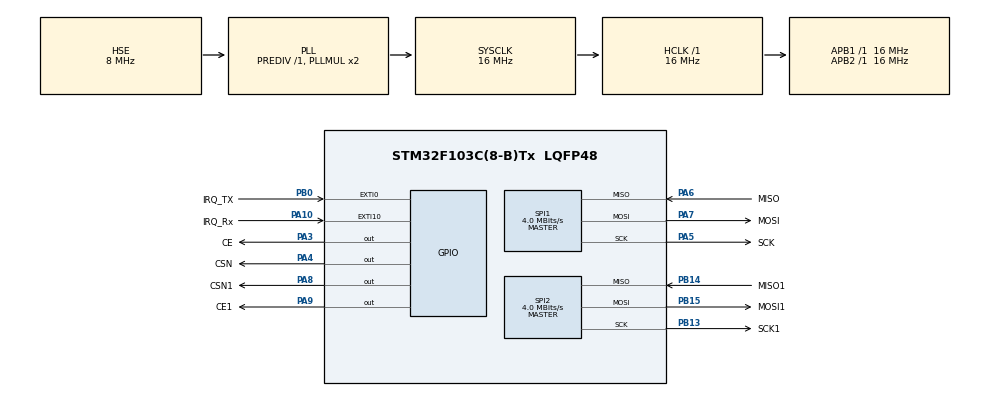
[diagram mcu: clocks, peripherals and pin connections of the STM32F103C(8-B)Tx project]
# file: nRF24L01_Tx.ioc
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Mcu.Family=STM32F1
Mcu.Name=STM32F103C(8-B)Tx
Mcu.Package=LQFP48
NVIC.EXTI0_IRQn=true\:1\:0\:true\:false\:true\:true\:true\:true
NVIC.EXTI15_10_IRQn=true\:1\:0\:true\:false\:true\:true\:true\:true
NVIC.PriorityGroup=NVIC_PRIORITYGROUP_4
PA10.GPIO_Label=IRQ_Rx
PA10.GPIO_ModeDefaultEXTI=GPIO_MODE_IT_FALLING
PA10.Signal=GPXTI10
PA13.Mode=Serial_Wire
PA13.Signal=SYS_JTMS-SWDIO
PA14.Mode=Serial_Wire
PA14.Signal=SYS_JTCK-SWCLK
PA3.GPIO_Label=CE
PA3.Signal=GPIO_Output
PA4.GPIO_Label=CSN
PA4.PinState=GPIO_PIN_SET
PA4.Signal=GPIO_Output
PA5.GPIO_Label=SCK
PA5.Mode=Full_Duplex_Master
PA5.Signal=SPI1_SCK
PA6.GPIO_Label=MISO
PA6.Mode=Full_Duplex_Master
PA6.Signal=SPI1_MISO
PA7.GPIO_Label=MOSI
PA7.Mode=Full_Duplex_Master
PA7.Signal=SPI1_MOSI
PA8.GPIO_Label=CSN1
PA8.PinState=GPIO_PIN_SET
PA8.Signal=GPIO_Output
PA9.GPIO_Label=CE1
PA9.Signal=GPIO_Output
PB0.GPIO_Label=IRQ_TX
PB0.GPIO_ModeDefaultEXTI=GPIO_MODE_IT_FALLING
PB0.Signal=GPXTI0
PB13.GPIO_Label=SCK1
PB13.Mode=Full_Duplex_Master
PB13.Signal=SPI2_SCK
PB14.GPIO_Label=MISO1
PB14.Mode=Full_Duplex_Master
PB14.Signal=SPI2_MISO
PB15.GPIO_Label=MOSI1
PB15.Mode=Full_Duplex_Master
PB15.Signal=SPI2_MOSI
PD0-OSC_IN.Mode=HSE-External-Oscillator
PD0-OSC_IN.Signal=RCC_OSC_IN
PD1-OSC_OUT.Mode=HSE-External-Oscillator
PD1-OSC_OUT.Signal=RCC_OSC_OUT
ProjectManager.HeapSize=0x200
ProjectManager.StackSize=0x400
ProjectManager.TargetToolchain=MDK-ARM V5.32
RCC.AHBFreq_Value=16000000
RCC.APB1Freq_Value=16000000
RCC.APB1TimFreq_Value=16000000
RCC.APB2Freq_Value=16000000
RCC.APB2TimFreq_Value=16000000
RCC.HCLKFreq_Value=16000000
RCC.PLLSourceVirtual=RCC_PLLSOURCE_HSE
RCC.SYSCLKFreq_VALUE=16000000
RCC.SYSCLKSource=RCC_SYSCLKSOURCE_PLLCLK
RCC.USBFreq_Value=16000000
SPI1.BaudRatePrescaler=SPI_BAUDRATEPRESCALER_4
SPI1.CalculateBaudRate=4.0 MBits/s
SPI1.Direction=SPI_DIRECTION_2LINES
SPI1.Mode=SPI_MODE_MASTER
SPI1.VirtualType=VM_MASTER
SPI2.BaudRatePrescaler=SPI_BAUDRATEPRESCALER_4
SPI2.CalculateBaudRate=4.0 MBits/s
SPI2.Direction=SPI_DIRECTION_2LINES
SPI2.Mode=SPI_MODE_MASTER
SPI2.VirtualType=VM_MASTER
TIM1.Prescaler=16-1
VP_TIM1_VS_ClockSourceINT.Mode=Internal
board=custom

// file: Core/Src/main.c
/* USER CODE BEGIN Header */
/**
  ******************************************************************************
  * @file           : main.c
  * @brief          : Main program body
  ******************************************************************************
  * @attention
  *
  * Copyright (c) 2024 STMicroelectronics.
  * All rights reserved.
  *
  * This software is licensed under terms that can be found in the LICENSE file
  * in the root directory of this software component.
  * If no LICENSE file comes with this software, it is provided AS-IS.
  *
  ******************************************************************************
  */
/* USER CODE END Header */
#include "main.h"

/* USER CODE BEGIN PD */
/* Instruction Mnemonics */
#define R_REGISTER    0x00
#define W_REGISTER    0x20
#define REGISTER_MASK 0x1F
#define ACTIVATE      0x50
#define R_RX_PL_WID   0x60
#define R_RX_PAYLOAD  0x61
#define W_TX_PAYLOAD  0xA0
#define W_ACK_PAYLOAD 0xA8
#define FLUSH_TX      0xE1
#define FLUSH_RX      0xE2
#define REUSE_TX_PL   0xE3
#define NOP           0xFF

/* Memory Map */
#define CONFIG      0x00
#define EN_AA       0x01
#define EN_RXADDR   0x02
#define SETUP_AW    0x03
#define SETUP_RETR  0x04
#define RF_CH       0x05
#define RF_SETUP    0x06
#define STATUS      0x07
#define OBSERVE_TX  0x08
#define CD          0x09
#define RX_ADDR_P0  0x0A
#define RX_ADDR_P1  0x0B
#define RX_ADDR_P2  0x0C
#define RX_ADDR_P3  0x0D
#define RX_ADDR_P4  0x0E
#define RX_ADDR_P5  0x0F
#define TX_ADDR     0x10
#define RX_PW_P0    0x11
#define RX_PW_P1    0x12
#define RX_PW_P2    0x13
#define RX_PW_P3    0x14
#define RX_PW_P4    0x15
#define RX_PW_P5    0x16
#define FIFO_STATUS 0x17
#define DYNPD	    0x1C
#define FEATURE	    0x1D

/* USER CODE END PD */

SPI_HandleTypeDef hspi1;
SPI_HandleTypeDef hspi2;

TIM_HandleTypeDef htim1;

void SystemClock_Config(void);
static void MX_GPIO_Init(void);
static void MX_SPI1_Init(void);
static void MX_TIM1_Init(void);
static void MX_SPI2_Init(void);
/* USER CODE BEGIN PFP */
	void TransmitSetup(uint8_t DataT[]);
	void ReceiveSetup();
	void uSDelay(uint16_t delay);
	void Transmit(uint8_t data[]);
	void Receive();
  uint8_t data[2]={1,2};
	HAL_StatusTypeDef status1=!(HAL_OK);
	uint8_t StatusCheckx[2];
	uint8_t RxData2[3];
  uint8_t RxData22;
/* USER CODE END PFP */

int main(void){

  /* MCU Configuration--------------------------------------------------------*/

  /* Reset of all peripherals, Initializes the Flash interface and the Systick. */
  HAL_Init();

  /* Configure the system clock */
  SystemClock_Config();

  /* Initialize all configured peripherals */
  MX_GPIO_Init();
  MX_SPI1_Init();
  MX_TIM1_Init();
  MX_SPI2_Init();
  /* USER CODE BEGIN 2 */
	HAL_TIM_Base_Start(&htim1);
	HAL_Delay(100);
	Receive();//Activate the receiver

  /* USER CODE END 2 */

  /* Infinite loop */
  /* USER CODE BEGIN WHILE */
  while (1)
  {
	data[0]=1;data[1]=4;

	Transmit(data);//Transmit an array of data(2 bytes)
	HAL_Delay(10);
	data[0]=9;data[1]=16;

	Transmit(data);//Retransmit an array of data(2 bytes)
	HAL_Delay(10);

    /* USER CODE END WHILE */

  }
}

void SystemClock_Config(void)
{
  RCC_OscInitTypeDef RCC_OscInitStruct = {0};
  RCC_ClkInitTypeDef RCC_ClkInitStruct = {0};

  /** Initializes the RCC Oscillators according to the specified parameters
  * in the RCC_OscInitTypeDef structure.
  */
  RCC_OscInitStruct.OscillatorType = RCC_OSCILLATORTYPE_HSE;
  RCC_OscInitStruct.HSEState = RCC_HSE_ON;
  RCC_OscInitStruct.HSEPredivValue = RCC_HSE_PREDIV_DIV1;
  RCC_OscInitStruct.HSIState = RCC_HSI_ON;
  RCC_OscInitStruct.PLL.PLLState = RCC_PLL_ON;
  RCC_OscInitStruct.PLL.PLLSource = RCC_PLLSOURCE_HSE;
  RCC_OscInitStruct.PLL.PLLMUL = RCC_PLL_MUL2;
  if (HAL_RCC_OscConfig(&RCC_OscInitStruct) != HAL_OK)
  {
    Error_Handler();
  }

  /** Initializes the CPU, AHB and APB buses clocks
  */
  RCC_ClkInitStruct.ClockType = RCC_CLOCKTYPE_HCLK|RCC_CLOCKTYPE_SYSCLK
                              |RCC_CLOCKTYPE_PCLK1|RCC_CLOCKTYPE_PCLK2;
  RCC_ClkInitStruct.SYSCLKSource = RCC_SYSCLKSOURCE_PLLCLK;
  RCC_ClkInitStruct.AHBCLKDivider = RCC_SYSCLK_DIV1;
  RCC_ClkInitStruct.APB1CLKDivider = RCC_HCLK_DIV1;
  RCC_ClkInitStruct.APB2CLKDivider = RCC_HCLK_DIV1;

  if (HAL_RCC_ClockConfig(&RCC_ClkInitStruct, FLASH_LATENCY_0) != HAL_OK)
  {
    Error_Handler();
  }
}

static void MX_SPI1_Init(void)
{

  /* SPI1 parameter configuration*/
  hspi1.Instance = SPI1;
  hspi1.Init.Mode = SPI_MODE_MASTER;
  hspi1.Init.Direction = SPI_DIRECTION_2LINES;
  hspi1.Init.DataSize = SPI_DATASIZE_8BIT;
  hspi1.Init.CLKPolarity = SPI_POLARITY_LOW;
  hspi1.Init.CLKPhase = SPI_PHASE_1EDGE;
  hspi1.Init.NSS = SPI_NSS_SOFT;
  hspi1.Init.BaudRatePrescaler = SPI_BAUDRATEPRESCALER_4;
  hspi1.Init.FirstBit = SPI_FIRSTBIT_MSB;
  hspi1.Init.TIMode = SPI_TIMODE_DISABLE;
  hspi1.Init.CRCCalculation = SPI_CRCCALCULATION_DISABLE;
  hspi1.Init.CRCPolynomial = 10;
  if (HAL_SPI_Init(&hspi1) != HAL_OK)
  {
    Error_Handler();
  }

}

static void MX_SPI2_Init(void)
{

  /* SPI2 parameter configuration*/
  hspi2.Instance = SPI2;
  hspi2.Init.Mode = SPI_MODE_MASTER;
  hspi2.Init.Direction = SPI_DIRECTION_2LINES;
  hspi2.Init.DataSize = SPI_DATASIZE_8BIT;
  hspi2.Init.CLKPolarity = SPI_POLARITY_LOW;
  hspi2.Init.CLKPhase = SPI_PHASE_1EDGE;
  hspi2.Init.NSS = SPI_NSS_SOFT;
  hspi2.Init.BaudRatePrescaler = SPI_BAUDRATEPRESCALER_4;
  hspi2.Init.FirstBit = SPI_FIRSTBIT_MSB;
  hspi2.Init.TIMode = SPI_TIMODE_DISABLE;
  hspi2.Init.CRCCalculation = SPI_CRCCALCULATION_DISABLE;
  hspi2.Init.CRCPolynomial = 10;
  if (HAL_SPI_Init(&hspi2) != HAL_OK)
  {
    Error_Handler();
  }

}

static void MX_TIM1_Init(void)
{

  TIM_ClockConfigTypeDef sClockSourceConfig = {0};
  TIM_MasterConfigTypeDef sMasterConfig = {0};

  htim1.Instance = TIM1;
  htim1.Init.Prescaler = 16-1;
  htim1.Init.CounterMode = TIM_COUNTERMODE_UP;
  htim1.Init.Period = 65535;
  htim1.Init.ClockDivision = TIM_CLOCKDIVISION_DIV1;
  htim1.Init.RepetitionCounter = 0;
  htim1.Init.AutoReloadPreload = TIM_AUTORELOAD_PRELOAD_DISABLE;
  if (HAL_TIM_Base_Init(&htim1) != HAL_OK)
  {
    Error_Handler();
  }
  sClockSourceConfig.ClockSource = TIM_CLOCKSOURCE_INTERNAL;
  if (HAL_TIM_ConfigClockSource(&htim1, &sClockSourceConfig) != HAL_OK)
  {
    Error_Handler();
  }
  sMasterConfig.MasterOutputTrigger = TIM_TRGO_RESET;
  sMasterConfig.MasterSlaveMode = TIM_MASTERSLAVEMODE_DISABLE;
  if (HAL_TIMEx_MasterConfigSynchronization(&htim1, &sMasterConfig) != HAL_OK)
  {
    Error_Handler();
  }

}

static void MX_GPIO_Init(void)
{
  GPIO_InitTypeDef GPIO_InitStruct = {0};

  /* GPIO Ports Clock Enable */
  __HAL_RCC_GPIOD_CLK_ENABLE();
  __HAL_RCC_GPIOA_CLK_ENABLE();
  __HAL_RCC_GPIOB_CLK_ENABLE();

  /*Configure GPIO pin Output Level */
  HAL_GPIO_WritePin(GPIOA, CE_Pin|CE1_Pin, GPIO_PIN_RESET);

  /*Configure GPIO pin Output Level */
  HAL_GPIO_WritePin(GPIOA, CSN_Pin|CSN1_Pin, GPIO_PIN_SET);

  /*Configure GPIO pins : CE_Pin CSN_Pin CSN1_Pin CE1_Pin */
  GPIO_InitStruct.Pin = CE_Pin|CSN_Pin|CSN1_Pin|CE1_Pin;
  GPIO_InitStruct.Mode = GPIO_MODE_OUTPUT_PP;
  GPIO_InitStruct.Pull = GPIO_NOPULL;
  GPIO_InitStruct.Speed = GPIO_SPEED_FREQ_LOW;
  HAL_GPIO_Init(GPIOA, &GPIO_InitStruct);

  /*Configure GPIO pin : IRQ_TX_Pin */
  GPIO_InitStruct.Pin = IRQ_TX_Pin;
  GPIO_InitStruct.Mode = GPIO_MODE_IT_FALLING;
  GPIO_InitStruct.Pull = GPIO_NOPULL;
  HAL_GPIO_Init(IRQ_TX_GPIO_Port, &GPIO_InitStruct);

  /*Configure GPIO pin : IRQ_Rx_Pin */
  GPIO_InitStruct.Pin = IRQ_Rx_Pin;
  GPIO_InitStruct.Mode = GPIO_MODE_IT_FALLING;
  GPIO_InitStruct.Pull = GPIO_NOPULL;
  HAL_GPIO_Init(IRQ_Rx_GPIO_Port, &GPIO_InitStruct);

  /* EXTI interrupt init*/
  HAL_NVIC_SetPriority(EXTI0_IRQn, 1, 0);
  HAL_NVIC_EnableIRQ(EXTI0_IRQn);

  HAL_NVIC_SetPriority(EXTI15_10_IRQn, 1, 0);
  HAL_NVIC_EnableIRQ(EXTI15_10_IRQn);

}

/* USER CODE BEGIN 4 */
void uSDelay(uint16_t Delay)
{
	__HAL_TIM_SET_COUNTER(&htim1,0);
	while(__HAL_TIM_GET_COUNTER(&htim1)<Delay);
}

void HAL_GPIO_EXTI_Callback(uint16_t GPIO_Pin)
	{
		if(GPIO_Pin==GPIO_PIN_0)
		{
			//Go to Standby-I Mode
		HAL_GPIO_WritePin(CE_GPIO_Port,CE_Pin,GPIO_PIN_RESET);

		//Check IRQ PIN TX
		//Flush TX
	  uint8_t FlushTx=FLUSH_TX;
		uint8_t RxData;
	  HAL_GPIO_WritePin(CSN_GPIO_Port, CSN_Pin, GPIO_PIN_RESET);
	  HAL_SPI_TransmitReceive(&hspi1,&FlushTx,&RxData22,1,1);
	  HAL_GPIO_WritePin(CSN_GPIO_Port, CSN_Pin, GPIO_PIN_SET);

	  //Flush RX
	  uint8_t FlushRx=FLUSH_RX;
	  HAL_GPIO_WritePin(CSN_GPIO_Port, CSN_Pin, GPIO_PIN_RESET);
	  HAL_SPI_TransmitReceive(&hspi1,&FlushRx,&RxData,1,1);
	  HAL_GPIO_WritePin(CSN_GPIO_Port, CSN_Pin, GPIO_PIN_SET);
		}

		else
		{
			uint8_t TxData[2];
			uint8_t RxDatax[2];
			//Go to Standby-I Mode
		HAL_GPIO_WritePin(CE1_GPIO_Port,CE1_Pin,GPIO_PIN_RESET);

		//Check IRQ PIN RX
		//Read Payload Data
		uint8_t R_Rx_Payload[3]={(R_REGISTER|R_RX_PAYLOAD),0,0};
		uint8_t RxData;
	  HAL_GPIO_WritePin(CSN1_GPIO_Port, CSN1_Pin, GPIO_PIN_RESET);
	  status1=HAL_SPI_TransmitReceive(&hspi2,(uint8_t *)R_Rx_Payload,(uint8_t *)RxData2,3,1);
	  HAL_GPIO_WritePin(CSN1_GPIO_Port, CSN1_Pin, GPIO_PIN_SET);

		//Flush TX
	  uint8_t FlushTx=FLUSH_TX;
	  HAL_GPIO_WritePin(CSN1_GPIO_Port, CSN1_Pin, GPIO_PIN_RESET);
	  HAL_SPI_TransmitReceive(&hspi2,&FlushTx,&RxData,1,1);
	  HAL_GPIO_WritePin(CSN1_GPIO_Port, CSN1_Pin, GPIO_PIN_SET);

	  //Flush RX
	  uint8_t FlushRx=FLUSH_RX;
	  HAL_GPIO_WritePin(CSN1_GPIO_Port, CSN1_Pin, GPIO_PIN_RESET);
	  HAL_SPI_TransmitReceive(&hspi2,&FlushRx,&RxData,1,1);
	  HAL_GPIO_WritePin(CSN1_GPIO_Port, CSN1_Pin, GPIO_PIN_SET);

		//Clear Status Register
	TxData[0]=(W_REGISTER|STATUS);
	uint8_t temp=(((0b0111)<<4)|((RxData)&0b00001111));
	TxData[1]=temp;
	HAL_GPIO_WritePin(CSN1_GPIO_Port, CSN1_Pin, GPIO_PIN_RESET);
	HAL_SPI_TransmitReceive(&hspi2,(uint8_t *)TxData,(uint8_t *)RxDatax,2,1);
	HAL_GPIO_WritePin(CSN1_GPIO_Port, CSN1_Pin, GPIO_PIN_SET);

	//Go to RX Mode again to search for more packets
		HAL_GPIO_WritePin(CE1_GPIO_Port,CE1_Pin,GPIO_PIN_SET);

	  }

	}

void Transmit(uint8_t DataT[])
{

	uint8_t RxDataX[3];

	//Flush TX
	  uint8_t FlushTx=FLUSH_TX;
		uint8_t RxDataF;
	  HAL_GPIO_WritePin(CSN_GPIO_Port, CSN_Pin, GPIO_PIN_RESET);
	  HAL_SPI_TransmitReceive(&hspi1,&FlushTx,&RxDataF,1,1);
	  HAL_GPIO_WritePin(CSN_GPIO_Port, CSN_Pin, GPIO_PIN_SET);

	  //Flush RX
	  uint8_t FlushRx=FLUSH_RX;
	  HAL_GPIO_WritePin(CSN_GPIO_Port, CSN_Pin, GPIO_PIN_RESET);
	  HAL_SPI_TransmitReceive(&hspi1,&FlushRx,&RxDataF,1,1);
	  HAL_GPIO_WritePin(CSN_GPIO_Port, CSN_Pin, GPIO_PIN_SET);

	//Clear Status Register Bits
	uint8_t temp=(((0b0111)<<4)|((RxDataF)&0b00001111));
	uint8_t TxData[2]={(W_REGISTER|STATUS),temp};
	uint8_t RxData[2];
	HAL_GPIO_WritePin(CSN_GPIO_Port, CSN_Pin, GPIO_PIN_RESET);
	HAL_SPI_TransmitReceive(&hspi1,(uint8_t *)TxData,(uint8_t *)RxData,2,1);
	HAL_GPIO_WritePin(CSN_GPIO_Port, CSN_Pin, GPIO_PIN_SET);

	//Enable AUTO ACK for data pipe 0 only
	TxData[0]=(W_REGISTER|EN_AA);
	TxData[1]=1;
	HAL_GPIO_WritePin(CSN_GPIO_Port, CSN_Pin, GPIO_PIN_RESET);
	HAL_SPI_TransmitReceive(&hspi1,(uint8_t *)TxData,(uint8_t *)RxData,2,1);
	HAL_GPIO_WritePin(CSN_GPIO_Port, CSN_Pin, GPIO_PIN_SET);

	//Enable Rx Address 0 only
	TxData[0]=(W_REGISTER|EN_RXADDR);
	TxData[1]=1;
	HAL_GPIO_WritePin(CSN_GPIO_Port, CSN_Pin, GPIO_PIN_RESET);
	HAL_SPI_TransmitReceive(&hspi1,(uint8_t *)TxData,(uint8_t *)RxData,2,1);
	HAL_GPIO_WritePin(CSN_GPIO_Port, CSN_Pin, GPIO_PIN_SET);

		//Payload Data
	//Write Tx Payload Data Pipe 0 width=2 bytes
	uint8_t TxData1[3]={W_TX_PAYLOAD,DataT[0],DataT[1]};
	HAL_GPIO_WritePin(CSN_GPIO_Port, CSN_Pin, GPIO_PIN_RESET);
	HAL_SPI_TransmitReceive(&hspi1,(uint8_t *)TxData1,(uint8_t *)RxDataX,3,1);
	HAL_GPIO_WritePin(CSN_GPIO_Port, CSN_Pin, GPIO_PIN_SET);

	//Enable Address Width
	TxData[0]=(W_REGISTER|SETUP_AW);
	TxData[1]=0b00000011;
	HAL_GPIO_WritePin(CSN_GPIO_Port, CSN_Pin, GPIO_PIN_RESET);
	HAL_SPI_TransmitReceive(&hspi1,(uint8_t *)TxData,(uint8_t *)RxData,2,1);
	HAL_GPIO_WritePin(CSN_GPIO_Port, CSN_Pin, GPIO_PIN_SET);

	//500 microseconds timeout for auto retransmission and 5 tries
	TxData[0]=(W_REGISTER|SETUP_RETR);
	TxData[1]=(0b0001<<4)|(0b0101);
	HAL_GPIO_WritePin(CSN_GPIO_Port, CSN_Pin, GPIO_PIN_RESET);
	HAL_SPI_TransmitReceive(&hspi1,(uint8_t *)TxData,(uint8_t *)RxData,2,1);
	HAL_GPIO_WritePin(CSN_GPIO_Port, CSN_Pin, GPIO_PIN_SET);

	//Enable RF Channel
	TxData[0]=(W_REGISTER|RF_CH);
	TxData[1]=0b00000010;
	HAL_GPIO_WritePin(CSN_GPIO_Port, CSN_Pin, GPIO_PIN_RESET);
	HAL_SPI_TransmitReceive(&hspi1,(uint8_t *)TxData,(uint8_t *)RxData,2,1);
	HAL_GPIO_WritePin(CSN_GPIO_Port, CSN_Pin, GPIO_PIN_SET);

	//RF Setup Register- Air Data Rate= 250Kbps, RF Output Power= -6dBm
	TxData[0]=(W_REGISTER|RF_SETUP);
	TxData[1]=(0b0<<6)|(0b100100);
	HAL_GPIO_WritePin(CSN_GPIO_Port, CSN_Pin, GPIO_PIN_RESET);
	HAL_SPI_TransmitReceive(&hspi1,(uint8_t *)TxData,(uint8_t *)RxData,2,1);
	HAL_GPIO_WritePin(CSN_GPIO_Port, CSN_Pin, GPIO_PIN_SET);

	//Write Receive address of data pipe 0 as PRATH
	uint8_t RxAddr[6]={(W_REGISTER|RX_ADDR_P0),(uint8_t )'P',(uint8_t )'R',(uint8_t )'A',(uint8_t )'T',(uint8_t )'H'};
	uint8_t RxDataAddress[6];
	HAL_GPIO_WritePin(CSN_GPIO_Port, CSN_Pin, GPIO_PIN_RESET);
	HAL_SPI_TransmitReceive(&hspi1,(uint8_t *)RxAddr,(uint8_t *)RxDataAddress,6,1);
	HAL_GPIO_WritePin(CSN_GPIO_Port, CSN_Pin, GPIO_PIN_SET);

	//Write Transmit address of data pipe 0 as PRATH
	uint8_t RxAddr1[6]={(W_REGISTER|TX_ADDR),(uint8_t )'P',(uint8_t )'R',(uint8_t )'A',(uint8_t )'T',(uint8_t )'H'};
	HAL_GPIO_WritePin(CSN_GPIO_Port, CSN_Pin, GPIO_PIN_RESET);
	HAL_SPI_TransmitReceive(&hspi1,(uint8_t *)RxAddr1,(uint8_t *)RxDataAddress,6,1);
	HAL_GPIO_WritePin(CSN_GPIO_Port, CSN_Pin, GPIO_PIN_SET);

	//1. For Transmitter

		//PRIM RX=0, 1 byte of ACK, Assert TX_DS as active low interrupt for IRQ Pin
	uint8_t TxDataZ[2]={(W_REGISTER|CONFIG),0b01011010};

	uint8_t RxDataZ[2];

	HAL_GPIO_WritePin(CSN_GPIO_Port, CSN_Pin, GPIO_PIN_RESET);
	HAL_SPI_TransmitReceive(&hspi1,(uint8_t *)TxDataZ,(uint8_t *)RxDataZ,2,1);
	HAL_GPIO_WritePin(CSN_GPIO_Port, CSN_Pin, GPIO_PIN_SET);

	//Wait for 1.5ms to transition from Power down to Standby Mode

	uSDelay(1500);

	//CE Pin pulse for TX Mode
	HAL_GPIO_WritePin(CE_GPIO_Port,CE_Pin,GPIO_PIN_SET);
	uSDelay(10);

}

void Receive()
{
	//2. For Receiver
	uint8_t TxData[2];
	uint8_t RxData[2];
	uint8_t RxDataAddress[6];
	uint8_t Stat;

	//Flush TX
	  uint8_t FlushTx=FLUSH_TX;
	  HAL_GPIO_WritePin(CSN1_GPIO_Port, CSN1_Pin, GPIO_PIN_RESET);
	  HAL_SPI_TransmitReceive(&hspi2,&FlushTx,&Stat,1,1);
	  HAL_GPIO_WritePin(CSN1_GPIO_Port, CSN1_Pin, GPIO_PIN_SET);

	  //Flush RX
	  uint8_t FlushRx=FLUSH_RX;
	  HAL_GPIO_WritePin(CSN1_GPIO_Port, CSN1_Pin, GPIO_PIN_RESET);
	  HAL_SPI_TransmitReceive(&hspi2,&FlushRx,&Stat,1,1);
	  HAL_GPIO_WritePin(CSN1_GPIO_Port, CSN1_Pin, GPIO_PIN_SET);

	//Clear Status Register Bits
	uint8_t temp=(((0b0111)<<4)|((Stat)&0b00001111));
	TxData[0]=(W_REGISTER|STATUS);
	TxData[1]=temp;
	HAL_GPIO_WritePin(CSN1_GPIO_Port, CSN1_Pin, GPIO_PIN_RESET);
	HAL_SPI_TransmitReceive(&hspi2,(uint8_t *)TxData,(uint8_t *)RxData,2,1);
	HAL_GPIO_WritePin(CSN1_GPIO_Port, CSN1_Pin, GPIO_PIN_SET);

	//Enable AUTO ACK for data pipe 0 only
	uint8_t TxData3[2]={(W_REGISTER|EN_AA),1};
	uint8_t RxData3[2];
	HAL_GPIO_WritePin(CSN1_GPIO_Port, CSN1_Pin, GPIO_PIN_RESET);
	HAL_SPI_TransmitReceive(&hspi2,(uint8_t *)TxData3,(uint8_t *)RxData,2,1);
	HAL_GPIO_WritePin(CSN1_GPIO_Port, CSN1_Pin, GPIO_PIN_SET);

	//Enable Rx Address 0 only
	TxData[0]=(W_REGISTER|EN_RXADDR);
	TxData[1]=1;
	HAL_GPIO_WritePin(CSN1_GPIO_Port, CSN1_Pin, GPIO_PIN_RESET);
	HAL_SPI_TransmitReceive(&hspi2,(uint8_t *)TxData,(uint8_t *)RxData,2,1);
	HAL_GPIO_WritePin(CSN1_GPIO_Port, CSN1_Pin, GPIO_PIN_SET);

	//Enable Address Width
	TxData[0]=(W_REGISTER|SETUP_AW);
	TxData[1]=0b00000011;
	HAL_GPIO_WritePin(CSN1_GPIO_Port, CSN1_Pin, GPIO_PIN_RESET);
	HAL_SPI_TransmitReceive(&hspi2,(uint8_t *)TxData,(uint8_t *)RxData,2,1);
	HAL_GPIO_WritePin(CSN1_GPIO_Port, CSN1_Pin, GPIO_PIN_SET);

	//Enable RF Channel
	TxData[0]=(W_REGISTER|RF_CH);
	TxData[1]=0b00000010;
	HAL_GPIO_WritePin(CSN1_GPIO_Port, CSN1_Pin, GPIO_PIN_RESET);
	HAL_SPI_TransmitReceive(&hspi2,(uint8_t *)TxData,(uint8_t *)RxData,2,1);
	HAL_GPIO_WritePin(CSN1_GPIO_Port, CSN1_Pin, GPIO_PIN_SET);

	//RF Setup Register- Air Data Rate= 250Kbps, RF Output Power= -6dBm
	TxData[0]=(W_REGISTER|RF_SETUP);
	TxData[1]=(0b0<<6)|(0b100100);
	HAL_GPIO_WritePin(CSN1_GPIO_Port, CSN1_Pin, GPIO_PIN_RESET);
	HAL_SPI_TransmitReceive(&hspi2,(uint8_t *)TxData,(uint8_t *)RxData,2,1);
	HAL_GPIO_WritePin(CSN1_GPIO_Port, CSN1_Pin, GPIO_PIN_SET);

	//RX_PW_P0 (Payload Register) --> Configure to 2 bytes
	TxData[0]=(W_REGISTER|RX_PW_P0);
	TxData[1]=(0b0<<6)|(0b000010);
	HAL_GPIO_WritePin(CSN1_GPIO_Port, CSN1_Pin, GPIO_PIN_RESET);
	HAL_SPI_TransmitReceive(&hspi2,(uint8_t *)TxData,(uint8_t *)RxData,2,1);
	HAL_GPIO_WritePin(CSN1_GPIO_Port, CSN1_Pin, GPIO_PIN_SET);

	//Write Receive address of data pipe 0 as PRATH
	uint8_t RxAddr3[6]={(W_REGISTER|RX_ADDR_P0),(uint8_t )'P',(uint8_t )'R',(uint8_t )'A',(uint8_t )'T',(uint8_t )'H'};
	HAL_GPIO_WritePin(CSN1_GPIO_Port, CSN1_Pin, GPIO_PIN_RESET);
	HAL_SPI_TransmitReceive(&hspi2,(uint8_t *)RxAddr3,(uint8_t *)RxDataAddress,6,1);
	HAL_GPIO_WritePin(CSN1_GPIO_Port, CSN1_Pin, GPIO_PIN_SET);

  //PRIM RX=1, 1 byte of ACK, Assert RX_DR as active low interrupt for IRQ Pin
	uint8_t TxDataY[2]={(W_REGISTER|CONFIG),0b00111011};
	uint8_t RxDataY[2];
	HAL_GPIO_WritePin(CSN1_GPIO_Port, CSN1_Pin, GPIO_PIN_RESET);
	HAL_SPI_TransmitReceive(&hspi2,(uint8_t *)TxDataY,(uint8_t *)RxDataY,2,1);
	HAL_GPIO_WritePin(CSN1_GPIO_Port, CSN1_Pin, GPIO_PIN_SET);

	//Enter Standby-I or Standby-II from power down mode
	uSDelay(1500);

	//CE Pin pulse for RX Mode
	HAL_GPIO_WritePin(CE1_GPIO_Port,CE1_Pin,GPIO_PIN_SET);
	uSDelay(130);

}

/* USER CODE END 4 */

void Error_Handler(void)
{
  __disable_irq();
  while (1)
  {
  }
}
